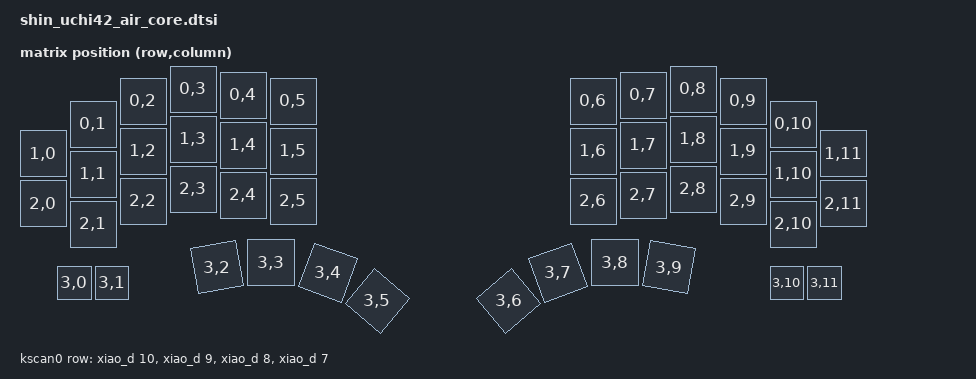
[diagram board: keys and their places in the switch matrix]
#include <dt-bindings/zmk/matrix_transform.h>
#include <physical_layouts.dtsi>

/ {
    chosen {
        zmk,physical-layout = &su42air_physical_layout;
    };

    su42air_physical_layout: su42air_physical_layout{
        compatible = "zmk,physical-layout";
        display-name = "Shin-Uchi42-Air";
        transform = <&default_transform>;
        kscan = <&kscan0>;
        keys  //                     w   h    x    y     rot    rx    ry
            = <&key_physical_attrs 100 100  100   70       0     0     0>
            , <&key_physical_attrs 100 100  200   24       0     0     0>
            , <&key_physical_attrs 100 100  300   0        0     0     0>
            , <&key_physical_attrs 100 100  400   12       0     0     0>
            , <&key_physical_attrs 100 100  500   24       0     0     0>
            , <&key_physical_attrs 100 100 1100  24        0     0     0>
            , <&key_physical_attrs 100 100 1200  12        0     0     0>
            , <&key_physical_attrs 100 100 1300  0         0     0     0>
            , <&key_physical_attrs 100 100 1400  24        0     0     0>
            , <&key_physical_attrs 100 100 1500  70        0     0     0>
            , <&key_physical_attrs 100 100    0  129       0     0     0>
            , <&key_physical_attrs 100 100  100  170       0     0     0>
            , <&key_physical_attrs 100 100  200  124       0     0     0>
            , <&key_physical_attrs 100 100  300  100       0     0     0>
            , <&key_physical_attrs 100 100  400  112       0     0     0>
            , <&key_physical_attrs 100 100  500  124       0     0     0>
            , <&key_physical_attrs 100 100 1100  124       0     0     0>
            , <&key_physical_attrs 100 100 1200  112       0     0     0>
            , <&key_physical_attrs 100 100 1300  100       0     0     0>
            , <&key_physical_attrs 100 100 1400  124       0     0     0>
            , <&key_physical_attrs 100 100 1500  170       0     0     0>
            , <&key_physical_attrs 100 100 1600  129       0     0     0>
            , <&key_physical_attrs 100 100    0  229       0     0     0>
            , <&key_physical_attrs 100 100  100  270       0     0     0>
            , <&key_physical_attrs 100 100  200  224       0     0     0>
            , <&key_physical_attrs 100 100  300  200       0     0     0>
            , <&key_physical_attrs 100 100  400  212       0     0     0>
            , <&key_physical_attrs 100 100  500  224       0     0     0>
            , <&key_physical_attrs 100 100 1100  224       0     0     0>
            , <&key_physical_attrs 100 100 1200  212       0     0     0>
            , <&key_physical_attrs 100 100 1300  200       0     0     0>
            , <&key_physical_attrs 100 100 1400  224       0     0     0>
            , <&key_physical_attrs 100 100 1500  270       0     0     0>
            , <&key_physical_attrs 100 100 1600  229       0     0     0>
            , <&key_physical_attrs  75  75   75  400       0     0     0>
            , <&key_physical_attrs  75  75  150  400       0     0     0>
            , <&key_physical_attrs 100 100  356  347 (-1000)   456   447>
            , <&key_physical_attrs 100 100  456  347       0     0     0>
            , <&key_physical_attrs 100 100  556  347    2000   556   447>
            , <&key_physical_attrs 100 100  645  390    4000   660   490>
            , <&key_physical_attrs 100 100  955  390 (-4000)  1040   490>
            , <&key_physical_attrs 100 100 1044  347 (-2000)  1144   447>
            , <&key_physical_attrs 100 100 1144  347       0     0     0>
            , <&key_physical_attrs 100 100 1244  347    1000  1244   447>
            , <&key_physical_attrs  75  75 1500  400       0     0     0>
            , <&key_physical_attrs  75  75 1575  400       0     0     0>
            ;
    };

    default_transform: keymap_transform_0 {
        compatible = "zmk,matrix-transform";
        columns = <12>;
        rows = <4>;
        map = <
                RC(0,1) RC(0,2) RC(0,3) RC(0,4) RC(0,5)                 RC(0,6) RC(0,7) RC(0,8) RC(0,9) RC(0,10)
        RC(1,0) RC(1,1) RC(1,2) RC(1,3) RC(1,4) RC(1,5)                 RC(1,6) RC(1,7) RC(1,8) RC(1,9) RC(1,10) RC(1,11)
        RC(2,0) RC(2,1) RC(2,2) RC(2,3) RC(2,4) RC(2,5)                 RC(2,6) RC(2,7) RC(2,8) RC(2,9) RC(2,10) RC(2,11)
        RC(3,0) RC(3,1) RC(3,2) RC(3,3) RC(3,4) RC(3,5)                 RC(3,6) RC(3,7) RC(3,8) RC(3,9) RC(3,10) RC(3,11)

        >;
    };

    kscan0: kscan {
        compatible = "zmk,kscan-gpio-matrix";
        diode-direction = "col2row";
        wakeup-source;

        row-gpios
            = <&xiao_d 10 (GPIO_ACTIVE_HIGH | GPIO_PULL_DOWN)>
            , <&xiao_d 9 (GPIO_ACTIVE_HIGH | GPIO_PULL_DOWN)>
            , <&xiao_d 8 (GPIO_ACTIVE_HIGH | GPIO_PULL_DOWN)>
            , <&xiao_d 7 (GPIO_ACTIVE_HIGH | GPIO_PULL_DOWN)>
            ;

    };
};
